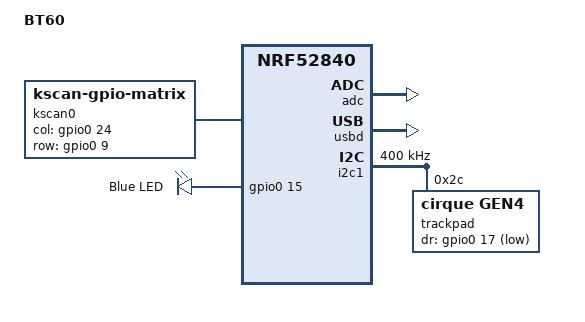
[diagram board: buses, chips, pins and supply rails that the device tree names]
/*
* Copyright (c) 2021 Polarity Works
*
* SPDX-License-Identifier: MIT
*/

/dts-v1/;
#include <nordic/nrf52840_qiaa.dtsi>

#include <dt-bindings/led/led.h>
#include <dt-bindings/zmk/matrix_transform.h>

#include "pinctrl.dtsi"

/ {
    model = "BT60";
    compatible = "polarityworks,bt60v2";

    chosen {
        zephyr,code-partition = &code_partition;
        zephyr,sram = &sram0;
        zephyr,flash = &flash0;
        zmk,kscan = &kscan0;
        zephyr,console = &cdc_acm_uart;

    };

    kscan0: kscan_0 {
        compatible = "zmk,kscan-gpio-matrix";
        diode-direction = "col2row";

        col-gpios
            = <&gpio0 24 GPIO_ACTIVE_HIGH>
            ;

        row-gpios
            = <&gpio0 9 (GPIO_ACTIVE_HIGH | GPIO_PULL_DOWN)>
            ;
    };

    leds {
        compatible = "gpio-leds";
        blue_led: led_0 {
            gpios = <&gpio0 15 GPIO_ACTIVE_HIGH>;
            label = "Blue LED";
        };
    };

};

&adc {
    status = "okay";
};


&gpiote {
    status = "okay";
};

&gpio0 {
    status = "okay";
};

&gpio1 {
    status = "okay";
};

&usbd {
    status = "okay";
    cdc_acm_uart: cdc_acm_uart {
    compatible = "zephyr,cdc-acm-uart";
    label = "CDC_ACM_0";
  };
};


&flash0 {
    /*
     * For more information, see:
     * http://docs.zephyrproject.org/latest/devices/dts/flash_partitions.html
     */
    partitions {
        compatible = "fixed-partitions";
        #address-cells = <1>;
        #size-cells = <1>;

        sd_partition: partition@0 {
            label = "softdevice";
            reg = <0x00000000 0x00026000>;
        };
        code_partition: partition@26000 {
            label = "code_partition";
            reg = <0x00026000 0x000c6000>;
        };

        /*
         * The flash starting at 0x000ec000 and ending at
         * 0x000f3fff is reserved for use by the application.
         */

        /*
         * Storage partition will be used by FCB/LittleFS/NVS
         * if enabled.
         */
        storage_partition: partition@ec000 {
            label = "storage";
            reg = <0x000ec000 0x00008000>;
        };

        boot_partition: partition@f4000 {
            label = "adafruit_boot";
            reg = <0x000f4000 0x0000c000>;
        };
    };
};

&i2c1 {
    compatible = "nordic,nrf-twim";
    /* Cannot be used together with spi1. */
    status = "okay";
    pinctrl-0 = <&i2c1_default>;
    pinctrl-1 = <&i2c1_sleep>;
    pinctrl-names = "default", "sleep";
    clock-frequency = <I2C_BITRATE_FAST>;
    trackpad: trackpad@2c {
        compatible = "cirque,gen4";
        status = "okay";
        reg = <0x2C>;
        dr-gpios = <&gpio0 17 GPIO_ACTIVE_LOW>;
    };
    };
